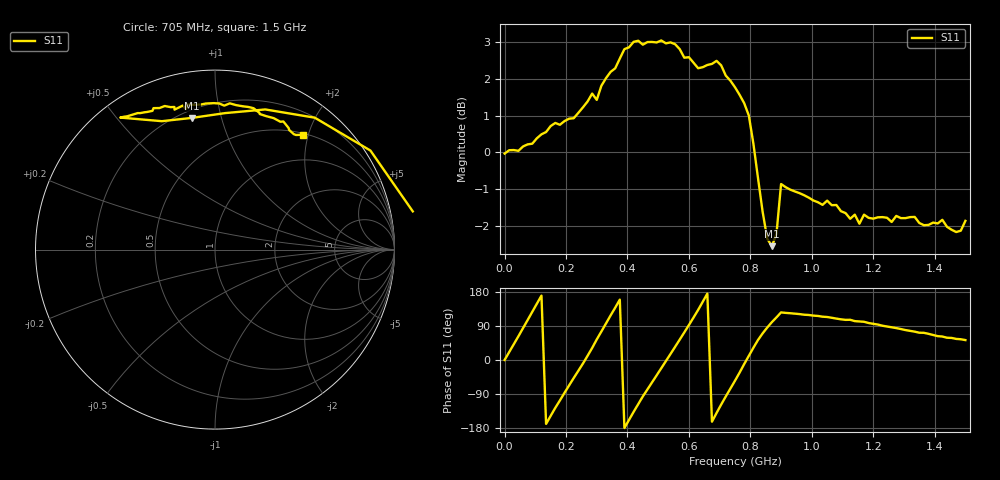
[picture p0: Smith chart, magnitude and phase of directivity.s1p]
! Created with skrf 1.8.0 (http://scikit-rf.org).
# Hz S RI R 50.0
!freq ReS11 ImS11
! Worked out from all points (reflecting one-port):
!   101 points, 50 kHz to 1.5 GHz, reference 50 ohm
!   lowest |S11| = -2.6 dB at 870 MHz (marker M1), VSWR 6.84, Z = 12.3 + j40.5 ohm
!   phase of S11 starts at 0 deg and turns +1132 deg over the sweep
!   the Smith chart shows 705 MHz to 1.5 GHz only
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50000  0.9962 0.00143
6.0048e7  0.1031 1.013
9.0047e7  -0.6193 0.8198
1.20046e8  -1.042 0.185
1.50045e8  -0.9141 -0.5863
1.950435e8  0.0645 -1.101
2.40042e8  0.995 -0.5394
2.70041e8  1.151 0.2231
3.0004e8  0.6876 0.9576
3.30039e8  -0.1399 1.254
3.750375e8  -1.255 0.4742
4.20036e8  -1.032 -0.9667
4.650345e8  0.3053 -1.38
4.950335e8  1.076 -0.9142
5.250325e8  1.406 -0.0708
5.70031e8  0.817 1.115
6.150295e8  -0.4967 1.228
6.60028e8  -1.311 0.1066
7.050265e8  -0.6071 -1.165
7.50025e8  0.7094 -1
7.950235e8  1.102 0.2129
8.250225e8  0.5557 0.735
8.70021e8  -0.128 0.7338
9.0002e8  -0.5278 0.7355
9.450185e8  -0.4723 0.7477
1.125012e9  -0.2254 0.7799
1.320006e9  0.185 0.7948
1.5e9  0.4904 0.6402
